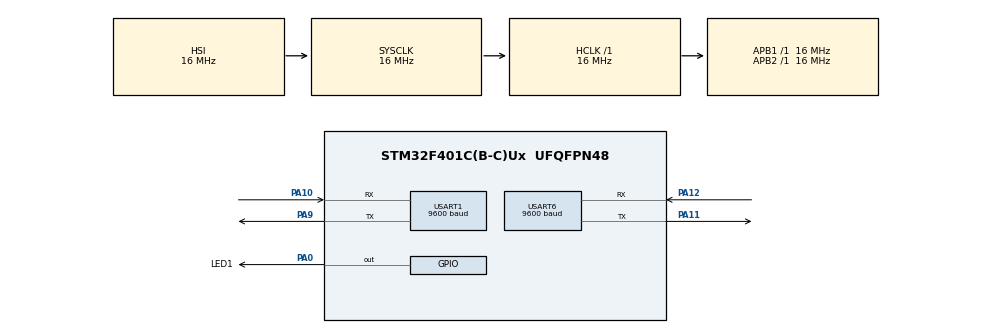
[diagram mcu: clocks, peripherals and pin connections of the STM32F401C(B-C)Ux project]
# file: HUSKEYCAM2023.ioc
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Dma.Request0=USART1_RX
Dma.USART1_RX.0.Direction=DMA_PERIPH_TO_MEMORY
Dma.USART1_RX.0.FIFOMode=DMA_FIFOMODE_DISABLE
Dma.USART1_RX.0.Instance=DMA2_Stream2
Dma.USART1_RX.0.MemDataAlignment=DMA_MDATAALIGN_BYTE
Dma.USART1_RX.0.MemInc=DMA_MINC_ENABLE
Dma.USART1_RX.0.Mode=DMA_NORMAL
Dma.USART1_RX.0.PeriphDataAlignment=DMA_PDATAALIGN_BYTE
Dma.USART1_RX.0.PeriphInc=DMA_PINC_DISABLE
Dma.USART1_RX.0.Priority=DMA_PRIORITY_LOW
Mcu.Family=STM32F4
Mcu.Name=STM32F401C(B-C)Ux
Mcu.Package=UFQFPN48
NVIC.DMA2_Stream2_IRQn=true\:0\:0\:false\:false\:true\:false\:true\:true
NVIC.PriorityGroup=NVIC_PRIORITYGROUP_4
NVIC.USART1_IRQn=true\:0\:0\:false\:false\:true\:true\:true\:true
PA0-WKUP.GPIO_Label=LED1
PA0-WKUP.Signal=GPIO_Output
PA10.Mode=Asynchronous
PA10.Signal=USART1_RX
PA11.Mode=Asynchronous
PA11.Signal=USART6_TX
PA12.Mode=Asynchronous
PA12.Signal=USART6_RX
PA9.Mode=Asynchronous
PA9.Signal=USART1_TX
ProjectManager.HeapSize=0x200
ProjectManager.StackSize=0x400
ProjectManager.TargetToolchain=STM32CubeIDE
RCC.AHBFreq_Value=16000000
RCC.APB1Freq_Value=16000000
RCC.APB2Freq_Value=16000000
RCC.CortexFreq_Value=16000000
RCC.HSE_VALUE=25000000
RCC.HSI_VALUE=16000000
RCC.LSE_VALUE=32768
RCC.SYSCLKFreq_VALUE=16000000
RCC.VCOOutputFreq_Value=192000000
USART1.BaudRate=9600
USART1.VirtualMode=VM_ASYNC
USART6.BaudRate=9600
USART6.VirtualMode=VM_ASYNC
board=custom

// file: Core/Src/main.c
/* USER CODE BEGIN Header */
/**
  ******************************************************************************
  * @file           : main.c
  * @brief          : Main program body
  ******************************************************************************
  * @attention
  *
  * Copyright (c) 2023 STMicroelectronics.
  * All rights reserved.
  *
  * This software is licensed under terms that can be found in the LICENSE file
  * in the root directory of this software component.
  * If no LICENSE file comes with this software, it is provided AS-IS.
  *
  ******************************************************************************
  */
/* USER CODE END Header */
#include "main.h"

/* USER CODE BEGIN Includes */
#include "string.h"
#include "stdio.h"
#include "stdint.h"
#include "uart.h"
#include "huskeycam.h"

/* USER CODE END Includes */

/* USER CODE BEGIN PTD */
enum caras {nadie,chavo,alcides,roca,mujer_maravilla,scarlett_johansson};

/* USER CODE END PTD */

UART_HandleTypeDef huart1;
UART_HandleTypeDef huart6;
DMA_HandleTypeDef hdma_usart1_rx;

/* USER CODE BEGIN PV */
//variables huskeylens
extern volatile char flag_rx;
extern volatile uint16_t num_datos;
extern uint8_t trama_huskey[];

/* USER CODE END PV */

void SystemClock_Config(void);
static void MX_GPIO_Init(void);
static void MX_DMA_Init(void);
static void MX_USART1_UART_Init(void);
static void MX_USART6_UART_Init(void);

int main(void)
{

  /* MCU Configuration--------------------------------------------------------*/

  /* Reset of all peripherals, Initializes the Flash interface and the Systick. */
  HAL_Init();

  /* Configure the system clock */
  SystemClock_Config();

  /* Initialize all configured peripherals */
  MX_GPIO_Init();
  MX_DMA_Init();
  MX_USART1_UART_Init();
  MX_USART6_UART_Init();
  /* USER CODE BEGIN 2 */
    Huskey_init();

  /* USER CODE END 2 */

  /* Infinite loop */
  /* USER CODE BEGIN WHILE */
  while (1)
  {
   Huskeylen_Block();
   HAL_Delay(200);

    if(flag_rx==1)
    {

   if (num_datos==32)
   {
	if(trama_huskey[29]==nadie) uartx_write_text(&huart6, "NO SE QUIEN ES\r\n");
	else if(trama_huskey[29]==chavo) uartx_write_text(&huart6, "EL CHAVO\r\n");
	else if(trama_huskey[29]==alcides)
	        	 {HAL_GPIO_TogglePin(LED1_GPIO_Port, LED1_Pin);
	        	  uartx_write_text(&huart6, "SUSCRIBETE AL CANAL\r\n");
	        	 }
	        else if(trama_huskey[29]==mujer_maravilla) uartx_write_text(&huart6, "MUJER MARAVILLA\r\n");
	         else if(trama_huskey[29]==roca) uartx_write_text(&huart6, "LA ROCA\r\n");
	         else if(trama_huskey[29]==scarlett_johansson) uartx_write_text(&huart6, "SCARLETT JOHANSSON\r\n");

     HAL_Delay(500);
   }

   flag_rx=0;
   Huskey_init();
    }

	  /* USER CODE END WHILE */

  }
}

void SystemClock_Config(void)
{
  RCC_OscInitTypeDef RCC_OscInitStruct = {0};
  RCC_ClkInitTypeDef RCC_ClkInitStruct = {0};

  /** Configure the main internal regulator output voltage
  */
  __HAL_RCC_PWR_CLK_ENABLE();
  __HAL_PWR_VOLTAGESCALING_CONFIG(PWR_REGULATOR_VOLTAGE_SCALE2);

  /** Initializes the RCC Oscillators according to the specified parameters
  * in the RCC_OscInitTypeDef structure.
  */
  RCC_OscInitStruct.OscillatorType = RCC_OSCILLATORTYPE_HSI;
  RCC_OscInitStruct.HSIState = RCC_HSI_ON;
  RCC_OscInitStruct.HSICalibrationValue = RCC_HSICALIBRATION_DEFAULT;
  RCC_OscInitStruct.PLL.PLLState = RCC_PLL_NONE;
  if (HAL_RCC_OscConfig(&RCC_OscInitStruct) != HAL_OK)
  {
    Error_Handler();
  }

  /** Initializes the CPU, AHB and APB buses clocks
  */
  RCC_ClkInitStruct.ClockType = RCC_CLOCKTYPE_HCLK|RCC_CLOCKTYPE_SYSCLK
                              |RCC_CLOCKTYPE_PCLK1|RCC_CLOCKTYPE_PCLK2;
  RCC_ClkInitStruct.SYSCLKSource = RCC_SYSCLKSOURCE_HSI;
  RCC_ClkInitStruct.AHBCLKDivider = RCC_SYSCLK_DIV1;
  RCC_ClkInitStruct.APB1CLKDivider = RCC_HCLK_DIV1;
  RCC_ClkInitStruct.APB2CLKDivider = RCC_HCLK_DIV1;

  if (HAL_RCC_ClockConfig(&RCC_ClkInitStruct, FLASH_LATENCY_0) != HAL_OK)
  {
    Error_Handler();
  }
}

static void MX_USART1_UART_Init(void)
{

  huart1.Instance = USART1;
  huart1.Init.BaudRate = 9600;
  huart1.Init.WordLength = UART_WORDLENGTH_8B;
  huart1.Init.StopBits = UART_STOPBITS_1;
  huart1.Init.Parity = UART_PARITY_NONE;
  huart1.Init.Mode = UART_MODE_TX_RX;
  huart1.Init.HwFlowCtl = UART_HWCONTROL_NONE;
  huart1.Init.OverSampling = UART_OVERSAMPLING_16;
  if (HAL_UART_Init(&huart1) != HAL_OK)
  {
    Error_Handler();
  }

}

static void MX_USART6_UART_Init(void)
{

  huart6.Instance = USART6;
  huart6.Init.BaudRate = 9600;
  huart6.Init.WordLength = UART_WORDLENGTH_8B;
  huart6.Init.StopBits = UART_STOPBITS_1;
  huart6.Init.Parity = UART_PARITY_NONE;
  huart6.Init.Mode = UART_MODE_TX_RX;
  huart6.Init.HwFlowCtl = UART_HWCONTROL_NONE;
  huart6.Init.OverSampling = UART_OVERSAMPLING_16;
  if (HAL_UART_Init(&huart6) != HAL_OK)
  {
    Error_Handler();
  }

}

static void MX_DMA_Init(void)
{

  /* DMA controller clock enable */
  __HAL_RCC_DMA2_CLK_ENABLE();

  /* DMA interrupt init */
  /* DMA2_Stream2_IRQn interrupt configuration */
  HAL_NVIC_SetPriority(DMA2_Stream2_IRQn, 0, 0);
  HAL_NVIC_EnableIRQ(DMA2_Stream2_IRQn);

}

static void MX_GPIO_Init(void)
{
  GPIO_InitTypeDef GPIO_InitStruct = {0};

  /* GPIO Ports Clock Enable */
  __HAL_RCC_GPIOA_CLK_ENABLE();

  /*Configure GPIO pin Output Level */
  HAL_GPIO_WritePin(LED1_GPIO_Port, LED1_Pin, GPIO_PIN_RESET);

  /*Configure GPIO pin : LED1_Pin */
  GPIO_InitStruct.Pin = LED1_Pin;
  GPIO_InitStruct.Mode = GPIO_MODE_OUTPUT_PP;
  GPIO_InitStruct.Pull = GPIO_NOPULL;
  GPIO_InitStruct.Speed = GPIO_SPEED_FREQ_LOW;
  HAL_GPIO_Init(LED1_GPIO_Port, &GPIO_InitStruct);

}

void Error_Handler(void)
{
  __disable_irq();
  while (1)
  {
  }
}
